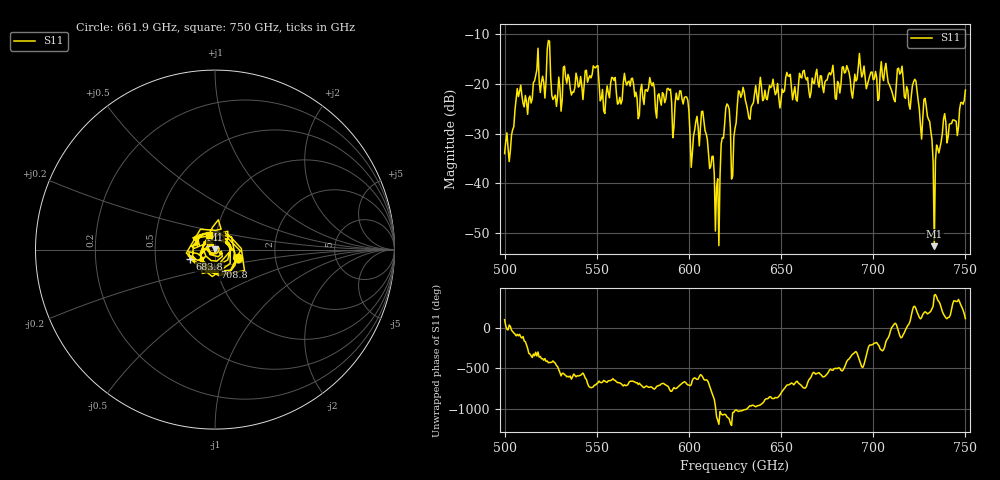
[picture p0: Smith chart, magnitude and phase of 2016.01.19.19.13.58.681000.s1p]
!Created with skrf (http://scikit-rf.org).
# GHz S RI R 50.0
!freq ReS11 ImS11
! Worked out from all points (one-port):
!   401 points, 500 GHz to 750 GHz, reference 50 ohm
!   lowest |S11| = -52.6 dB at 733.1 GHz (marker M1), VSWR 1.00, Z = 50.2 + j0.152 ohm
!   |S11| at or under -10 dB: start of sweep to end of sweep
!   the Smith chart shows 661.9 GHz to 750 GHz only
!   S11 on the Smith chart (normalised r, x): 661.9 GHz: 1.28, -0.12; 683.8 GHz: 0.75, -0.08; 708.8 GHz: 0.97, -0.19; 750 GHz: 0.93, +0.15
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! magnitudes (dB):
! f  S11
! 500 GHz  -34.0
! 507.5 GHz  -22.6
! 513.8 GHz  -22.4
! 523.8 GHz  -11.3
! 526.9 GHz  -22.7
! 531.2 GHz  -23.2
! 549.4 GHz  -16.8
! 553.1 GHz  -21.1
! 558.8 GHz  -18.8
! 562.5 GHz  -22.7
! 593.8 GHz  -23.2
! 598.8 GHz  -22.6
! 601.9 GHz  -33.8
! 608.1 GHz  -27.5
! 615 GHz  -40.6
! 620.6 GHz  -24.0
! 623.8 GHz  -38.5
! 625 GHz  -29.0
! 628.1 GHz  -22.7
! 656.2 GHz  -23.2
! 661.9 GHz  -17.5
! 683.8 GHz  -16.6
! 687.5 GHz  -19.1
! 708.8 GHz  -20.2
! 718.8 GHz  -21.3
! 728.8 GHz  -24.5
! 733.1 GHz  -52.6
! 750 GHz  -21.3
